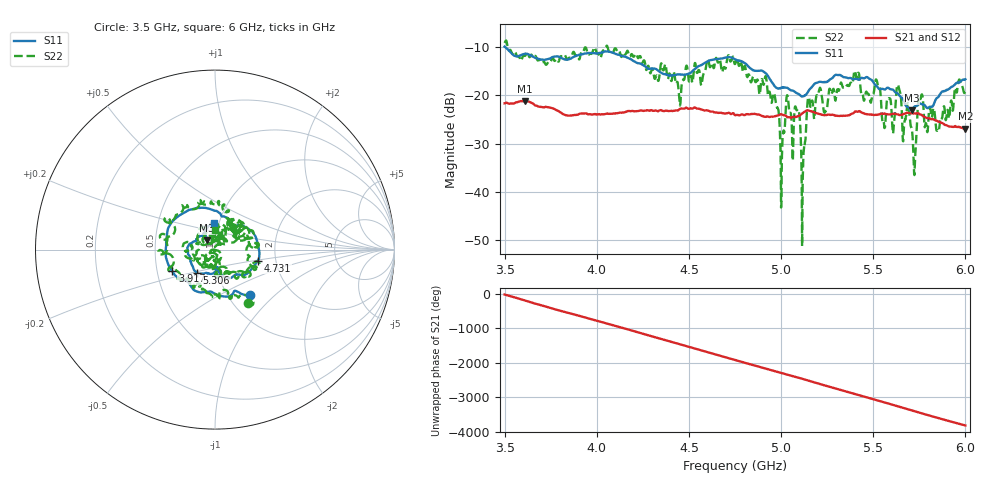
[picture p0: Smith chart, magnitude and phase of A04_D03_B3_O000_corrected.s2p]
! Created with skrf 1.9.0 (http://scikit-rf.org).
# Hz S RI R 50.0
!freq ReS11 ImS11 ReS21 ImS21 ReS12 ImS12 ReS22 ImS22
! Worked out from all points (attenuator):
!   1601 points, 3.5 GHz to 6 GHz, reference 50 ohm
!   highest |S21| = -21.14 dB at 3.609 GHz (marker M1); lowest = -26.9 dB at 6 GHz (marker M2)
!   lowest |S11| = -23.1 dB at 5.708 GHz (marker M3), VSWR 1.15, Z = 45.3 + j4.68 ohm
!   |S11| at or under -10 dB: 3.505 GHz to end of sweep
!   |S22| runs from -51.3 to -8.6 dB; largest |S21 - S12| = 0.001
!   S11 on the Smith chart (normalised r, x): 3.5 GHz: 1.26, -0.72; 3.917 GHz: 0.60, -0.16; 4.731 GHz: 1.61, -0.21; 5.306 GHz: 0.79, -0.21; 6 GHz: 0.94, +0.28
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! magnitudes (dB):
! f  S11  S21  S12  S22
! 3.5 GHz  -9.8  -21.6  -21.6  -9.1
! 3.609 GHz  -11.3  -21.1  -21.2  -11.8
! 3.917 GHz  -11.5  -23.8  -23.8  -10.9
! 4.334 GHz  -14.9  -23.3  -23.2  -17.0
! 4.731 GHz  -12.1  -23.8  -23.8  -12.7
! 4.75 GHz  -12.5  -24.1  -24.0  -13.5
! 4.967 GHz  -18.2  -24.3  -24.3  -20.4
! 5.006 GHz  -18.3  -24.0  -23.9  -30.5
! 5.034 GHz  -18.4  -24.5  -24.4  -20.0
! 5.088 GHz  -19.5  -24.4  -24.4  -23.0
! 5.12 GHz  -20.2  -23.6  -23.5  -33.5
! 5.145 GHz  -19.3  -23.1  -23.1  -20.9
! 5.167 GHz  -18.2  -23.3  -23.3  -21.1
! 5.306 GHz  -15.7  -24.3  -24.2  -18.7
! 5.584 GHz  -18.5  -23.9  -23.9  -20.6
! 5.609 GHz  -18.9  -23.8  -23.7  -27.3
! 5.639 GHz  -19.9  -24.0  -24.0  -18.4
! 5.708 GHz  -23.1  -23.7  -23.7  -26.7
! 5.727 GHz  -22.3  -23.7  -23.7  -33.3
! 5.756 GHz  -21.7  -24.0  -23.9  -20.7
! 5.85 GHz  -20.4  -25.4  -25.3  -27.2
! 6 GHz  -16.6  -26.9  -26.8  -19.2
